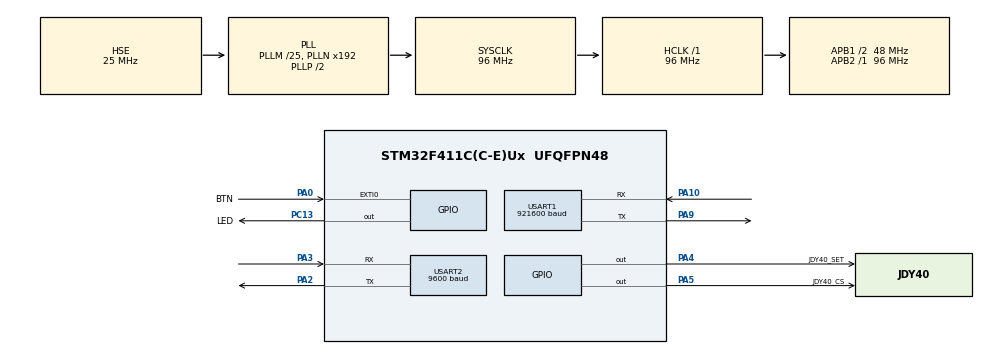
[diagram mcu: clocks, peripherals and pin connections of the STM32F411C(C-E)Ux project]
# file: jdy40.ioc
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Dma.Request0=USART2_RX
Dma.USART2_RX.0.Direction=DMA_PERIPH_TO_MEMORY
Dma.USART2_RX.0.FIFOMode=DMA_FIFOMODE_DISABLE
Dma.USART2_RX.0.Instance=DMA1_Stream5
Dma.USART2_RX.0.MemDataAlignment=DMA_MDATAALIGN_BYTE
Dma.USART2_RX.0.MemInc=DMA_MINC_ENABLE
Dma.USART2_RX.0.Mode=DMA_CIRCULAR
Dma.USART2_RX.0.PeriphDataAlignment=DMA_PDATAALIGN_BYTE
Dma.USART2_RX.0.PeriphInc=DMA_PINC_DISABLE
Dma.USART2_RX.0.Priority=DMA_PRIORITY_HIGH
Mcu.Family=STM32F4
Mcu.Name=STM32F411C(C-E)Ux
Mcu.Package=UFQFPN48
NVIC.DMA1_Stream5_IRQn=true\:0\:0\:false\:false\:true\:false\:true\:true
NVIC.EXTI0_IRQn=true\:0\:0\:false\:false\:true\:true\:true\:true
NVIC.PriorityGroup=NVIC_PRIORITYGROUP_4
NVIC.USART1_IRQn=true\:0\:0\:true\:false\:true\:true\:true\:true
NVIC.USART2_IRQn=true\:0\:0\:false\:false\:true\:true\:true\:true
PA0-WKUP.GPIO_Label=BTN
PA0-WKUP.GPIO_ModeDefaultEXTI=GPIO_MODE_IT_RISING_FALLING
PA0-WKUP.GPIO_PuPd=GPIO_PULLUP
PA0-WKUP.Signal=GPXTI0
PA10.Mode=Asynchronous
PA10.Signal=USART1_RX
PA13.Mode=Serial_Wire
PA13.Signal=SYS_JTMS-SWDIO
PA14.Mode=Serial_Wire
PA14.Signal=SYS_JTCK-SWCLK
PA2.Mode=Asynchronous
PA2.Signal=USART2_TX
PA3.Mode=Asynchronous
PA3.Signal=USART2_RX
PA4.GPIO_Label=JDY40_SET
PA4.Signal=GPIO_Output
PA5.GPIO_Label=JDY40_CS
PA5.Signal=GPIO_Output
PA9.Mode=Asynchronous
PA9.Signal=USART1_TX
PC13-ANTI_TAMP.GPIO_Label=LED
PC13-ANTI_TAMP.GPIO_ModeDefaultOutputPP=GPIO_MODE_OUTPUT_OD
PC13-ANTI_TAMP.GPIO_PuPd=GPIO_NOPULL
PC13-ANTI_TAMP.PinState=GPIO_PIN_SET
PC13-ANTI_TAMP.Signal=GPIO_Output
PH0\ -\ OSC_IN.Mode=HSE-External-Oscillator
PH0\ -\ OSC_IN.Signal=RCC_OSC_IN
PH1\ -\ OSC_OUT.Mode=HSE-External-Oscillator
PH1\ -\ OSC_OUT.Signal=RCC_OSC_OUT
ProjectManager.HeapSize=0x200
ProjectManager.StackSize=0x400
ProjectManager.TargetToolchain=STM32CubeIDE
RCC.48MHZClocksFreq_Value=48000000
RCC.AHBFreq_Value=96000000
RCC.APB1CLKDivider=RCC_HCLK_DIV2
RCC.APB1Freq_Value=48000000
RCC.APB1TimFreq_Value=96000000
RCC.APB2Freq_Value=96000000
RCC.APB2TimFreq_Value=96000000
RCC.CortexFreq_Value=96000000
RCC.HCLKFreq_Value=96000000
RCC.HSE_VALUE=25000000
RCC.HSI_VALUE=16000000
RCC.LSE_VALUE=32768
RCC.PLLM=25
RCC.PLLSourceVirtual=RCC_PLLSOURCE_HSE
RCC.SYSCLKFreq_VALUE=96000000
RCC.SYSCLKSource=RCC_SYSCLKSOURCE_PLLCLK
RCC.VCOOutputFreq_Value=192000000
USART1.BaudRate=921600
USART1.VirtualMode=VM_ASYNC
USART2.BaudRate=9600
USART2.OverSampling=UART_OVERSAMPLING_8
USART2.VirtualMode=VM_ASYNC
board=custom

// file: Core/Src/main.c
/* USER CODE BEGIN Header */
/**
  ******************************************************************************
  * @file           : main.c
  * @brief          : Main program body
  ******************************************************************************
  * @attention
  *
  * Copyright (c) 2022 STMicroelectronics.
  * All rights reserved.
  *
  * This software is licensed under terms that can be found in the LICENSE file
  * in the root directory of this software component.
  * If no LICENSE file comes with this software, it is provided AS-IS.
  *
  ******************************************************************************
  */
/* USER CODE END Header */
#include "main.h"

/* USER CODE BEGIN Includes */
#include "stdio.h"
#include "jdy40.h"
/* USER CODE END Includes */

 UART_HandleTypeDef huart1;
UART_HandleTypeDef huart2;
DMA_HandleTypeDef hdma_usart2_rx;

/* USER CODE BEGIN PV */
JDY40_HandleTypeDef jdy40_handler;
/* USER CODE END PV */

void SystemClock_Config(void);
static void MX_GPIO_Init(void);
static void MX_USART1_UART_Init(void);
static void MX_DMA_Init(void);
static void MX_USART2_UART_Init(void);

/* USER CODE BEGIN 0 */

// Send printf to uart1
int _write(int fd, char* ptr, int len) {
  HAL_StatusTypeDef hstatus;

  if (fd == 1 || fd == 2) {
    hstatus = HAL_UART_Transmit(&huart1, (uint8_t *) ptr, len, HAL_MAX_DELAY);
    if (hstatus == HAL_OK)
      return len;
    else
      return -1;
  }
  return -1;
}

/* USER CODE END 0 */

int main(void)
{

  /* MCU Configuration--------------------------------------------------------*/

  /* Reset of all peripherals, Initializes the Flash interface and the Systick. */
  HAL_Init();

  /* Configure the system clock */
  SystemClock_Config();

  /* Initialize all configured peripherals */
  MX_GPIO_Init();
  MX_USART1_UART_Init();
  MX_DMA_Init();
  MX_USART2_UART_Init();
  /* USER CODE BEGIN 2 */

  DBG("\n\n----------\nCore and peripherals has been initialised");

  if (jdy40_init(&jdy40_handler, &huart2, JDY40_CS_GPIO_Port, JDY40_CS_Pin, JDY40_SET_GPIO_Port, JDY40_SET_Pin) != JDY40_Ok) {
	  DBG("JDY40 failed to initialise");
	  Error_Handler();
  }

  /* USER CODE END 2 */

  /* Infinite loop */
  while (1)
  {

  }
}

void SystemClock_Config(void)
{
  RCC_OscInitTypeDef RCC_OscInitStruct = {0};
  RCC_ClkInitTypeDef RCC_ClkInitStruct = {0};

  /** Configure the main internal regulator output voltage
  */
  __HAL_RCC_PWR_CLK_ENABLE();
  __HAL_PWR_VOLTAGESCALING_CONFIG(PWR_REGULATOR_VOLTAGE_SCALE1);

  /** Initializes the RCC Oscillators according to the specified parameters
  * in the RCC_OscInitTypeDef structure.
  */
  RCC_OscInitStruct.OscillatorType = RCC_OSCILLATORTYPE_HSE;
  RCC_OscInitStruct.HSEState = RCC_HSE_ON;
  RCC_OscInitStruct.PLL.PLLState = RCC_PLL_ON;
  RCC_OscInitStruct.PLL.PLLSource = RCC_PLLSOURCE_HSE;
  RCC_OscInitStruct.PLL.PLLM = 25;
  RCC_OscInitStruct.PLL.PLLN = 192;
  RCC_OscInitStruct.PLL.PLLP = RCC_PLLP_DIV2;
  RCC_OscInitStruct.PLL.PLLQ = 4;
  if (HAL_RCC_OscConfig(&RCC_OscInitStruct) != HAL_OK)
  {
    Error_Handler();
  }

  /** Initializes the CPU, AHB and APB buses clocks
  */
  RCC_ClkInitStruct.ClockType = RCC_CLOCKTYPE_HCLK|RCC_CLOCKTYPE_SYSCLK
                              |RCC_CLOCKTYPE_PCLK1|RCC_CLOCKTYPE_PCLK2;
  RCC_ClkInitStruct.SYSCLKSource = RCC_SYSCLKSOURCE_PLLCLK;
  RCC_ClkInitStruct.AHBCLKDivider = RCC_SYSCLK_DIV1;
  RCC_ClkInitStruct.APB1CLKDivider = RCC_HCLK_DIV2;
  RCC_ClkInitStruct.APB2CLKDivider = RCC_HCLK_DIV1;

  if (HAL_RCC_ClockConfig(&RCC_ClkInitStruct, FLASH_LATENCY_3) != HAL_OK)
  {
    Error_Handler();
  }
}

static void MX_USART1_UART_Init(void)
{

  huart1.Instance = USART1;
  huart1.Init.BaudRate = 921600;
  huart1.Init.WordLength = UART_WORDLENGTH_8B;
  huart1.Init.StopBits = UART_STOPBITS_1;
  huart1.Init.Parity = UART_PARITY_NONE;
  huart1.Init.Mode = UART_MODE_TX_RX;
  huart1.Init.HwFlowCtl = UART_HWCONTROL_NONE;
  huart1.Init.OverSampling = UART_OVERSAMPLING_16;
  if (HAL_UART_Init(&huart1) != HAL_OK)
  {
    Error_Handler();
  }

}

static void MX_USART2_UART_Init(void)
{

  huart2.Instance = USART2;
  huart2.Init.BaudRate = 9600;
  huart2.Init.WordLength = UART_WORDLENGTH_8B;
  huart2.Init.StopBits = UART_STOPBITS_1;
  huart2.Init.Parity = UART_PARITY_NONE;
  huart2.Init.Mode = UART_MODE_TX_RX;
  huart2.Init.HwFlowCtl = UART_HWCONTROL_NONE;
  huart2.Init.OverSampling = UART_OVERSAMPLING_8;
  if (HAL_UART_Init(&huart2) != HAL_OK)
  {
    Error_Handler();
  }

}

static void MX_DMA_Init(void)
{

  /* DMA controller clock enable */
  __HAL_RCC_DMA1_CLK_ENABLE();

  /* DMA interrupt init */
  /* DMA1_Stream5_IRQn interrupt configuration */
  HAL_NVIC_SetPriority(DMA1_Stream5_IRQn, 0, 0);
  HAL_NVIC_EnableIRQ(DMA1_Stream5_IRQn);

}

static void MX_GPIO_Init(void)
{
  GPIO_InitTypeDef GPIO_InitStruct = {0};

  /* GPIO Ports Clock Enable */
  __HAL_RCC_GPIOC_CLK_ENABLE();
  __HAL_RCC_GPIOH_CLK_ENABLE();
  __HAL_RCC_GPIOA_CLK_ENABLE();

  /*Configure GPIO pin Output Level */
  HAL_GPIO_WritePin(LED_GPIO_Port, LED_Pin, GPIO_PIN_SET);

  /*Configure GPIO pin Output Level */
  HAL_GPIO_WritePin(GPIOA, JDY40_SET_Pin|JDY40_CS_Pin, GPIO_PIN_RESET);

  /*Configure GPIO pin : LED_Pin */
  GPIO_InitStruct.Pin = LED_Pin;
  GPIO_InitStruct.Mode = GPIO_MODE_OUTPUT_OD;
  GPIO_InitStruct.Pull = GPIO_NOPULL;
  GPIO_InitStruct.Speed = GPIO_SPEED_FREQ_LOW;
  HAL_GPIO_Init(LED_GPIO_Port, &GPIO_InitStruct);

  /*Configure GPIO pin : BTN_Pin */
  GPIO_InitStruct.Pin = BTN_Pin;
  GPIO_InitStruct.Mode = GPIO_MODE_IT_RISING_FALLING;
  GPIO_InitStruct.Pull = GPIO_PULLUP;
  HAL_GPIO_Init(BTN_GPIO_Port, &GPIO_InitStruct);

  /*Configure GPIO pins : JDY40_SET_Pin JDY40_CS_Pin */
  GPIO_InitStruct.Pin = JDY40_SET_Pin|JDY40_CS_Pin;
  GPIO_InitStruct.Mode = GPIO_MODE_OUTPUT_PP;
  GPIO_InitStruct.Pull = GPIO_NOPULL;
  GPIO_InitStruct.Speed = GPIO_SPEED_FREQ_LOW;
  HAL_GPIO_Init(GPIOA, &GPIO_InitStruct);

  /* EXTI interrupt init*/
  HAL_NVIC_SetPriority(EXTI0_IRQn, 0, 0);
  HAL_NVIC_EnableIRQ(EXTI0_IRQn);

}

void Error_Handler(void)
{
  __disable_irq();
  while (1)
  {
  }
}
